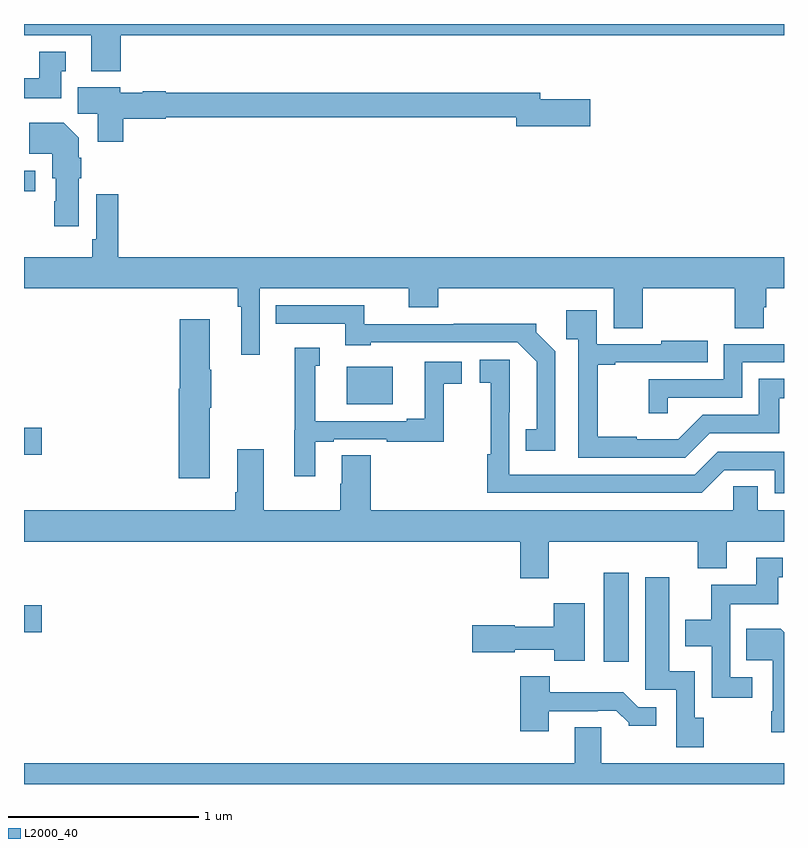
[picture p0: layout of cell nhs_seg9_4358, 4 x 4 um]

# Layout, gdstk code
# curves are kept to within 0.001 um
import gdstk
lib = gdstk.Library(unit=1e-6, precision=1e-09)
def R(c, l, rs):  # rectangles x0, y0, x1, y1
    for r in rs: c.add(gdstk.rectangle(r[:2], r[2:], *l))
def P(c, l, *ps):  # polygons
    for p in ps: c.add(gdstk.Polygon(p, *l))
L2000_40 = (2000, 40)

nhs_seg9_4358 = lib.new_cell('nhs_seg9_4358')
R(nhs_seg9_4358, L2000_40, [(364.052,1173.144,364.183,1173.613), (361,1173.299,361.093,1173.441), (361,1174.234,361.093,1174.376), (362.699,1174.499,362.941,1174.696), (361,1175.619,361.06,1175.727)])
P(nhs_seg9_4358, L2000_40, [(361.508,1176.44),(365,1176.44),(365,1176.5),(361,1176.5),(361,1176.44),(361.355,1176.44),(361.355,1176.251),(361.508,1176.251)],
  [(361.195,1176.252),(361.219,1176.252),(361.219,1176.355),(361.079,1176.355),(361.079,1176.214),(361,1176.214),(361,1176.11),(361.195,1176.11)],
  [(361.523,1176.002),(361.746,1176.002),(361.746,1176.01),(363.59,1176.01),(363.59,1175.963),(363.979,1175.963),(363.979,1176.105),(363.718,1176.105),(363.718,1176.139),(361.746,1176.139),(361.746,1176.147),(361.626,1176.147),(361.626,1176.139),(361.506,1176.139),(361.506,1176.166),(361.283,1176.166),(361.283,1176.028),(361.388,1176.028),(361.388,1175.88),(361.523,1175.88)],
  [(361.288,1175.688),(361.301,1175.688),(361.301,1175.795),(361.288,1175.795),(361.288,1175.902),(361.21,1175.98),(361.027,1175.98),(361.027,1175.816),(361.148,1175.816),(361.148,1175.688),(361.166,1175.688),(361.166,1175.568),(361.159,1175.568),(361.159,1175.436),(361.288,1175.436)],
  [(362.241,1175.108),(363.026,1175.108),(363.026,1175.009),(363.179,1175.009),(363.179,1175.108),(364.103,1175.108),(364.103,1174.9),(364.256,1174.9),(364.256,1175.108),(364.742,1175.108),(364.742,1174.9),(364.894,1174.9),(364.894,1175.01),(364.907,1175.01),(364.907,1175.108),(365,1175.108),(365,1175.272),(361.496,1175.272),(361.496,1175.605),(361.38,1175.605),(361.38,1175.368),(361.36,1175.368),(361.36,1175.272),(361,1175.272),(361,1175.108),(362.125,1175.108),(362.125,1175.012),(362.144,1175.012),(362.144,1174.758),(362.241,1174.758)],
  [(363.795,1174.778),(363.696,1174.877),(363.696,1174.922),(363.262,1174.922),(363.262,1174.92),(362.79,1174.92),(362.79,1175.019),(362.326,1175.019),(362.326,1174.923),(362.69,1174.923),(362.69,1174.808),(362.826,1174.808),(362.826,1174.824),(363.597,1174.824),(363.698,1174.723),(363.698,1174.367),(363.64,1174.367),(363.64,1174.254),(363.795,1174.254)],
  [(364.608,1174.347),(364.975,1174.347),(364.975,1174.531),(365,1174.531),(365,1174.634),(364.868,1174.634),(364.868,1174.443),(364.572,1174.443),(364.444,1174.315),(364.226,1174.315),(364.226,1174.327),(364.019,1174.327),(364.019,1174.707),(364.111,1174.707),(364.111,1174.719),(364.598,1174.719),(364.598,1174.834),(364.355,1174.834),(364.355,1174.815),(364.014,1174.815),(364.014,1174.993),(363.853,1174.993),(363.853,1174.841),(363.918,1174.841),(363.918,1174.218),(364.479,1174.218)],
  [(361.978,1174.481),(361.986,1174.481),(361.986,1174.681),(361.978,1174.681),(361.978,1174.945),(361.82,1174.945),(361.82,1174.581),(361.814,1174.581),(361.814,1174.11),(361.978,1174.11)],
  [(364.389,1174.533),(364.779,1174.533),(364.779,1174.719),(365,1174.719),(365,1174.815),(364.683,1174.815),(364.683,1174.629),(364.288,1174.629),(364.288,1174.452),(364.389,1174.452)],
  [(362.533,1174.302),(362.629,1174.302),(362.629,1174.314),(362.908,1174.314),(362.908,1174.302),(363.21,1174.302),(363.21,1174.606),(363.304,1174.606),(363.304,1174.722),(363.11,1174.722),(363.11,1174.423),(363.014,1174.423),(363.014,1174.41),(362.533,1174.41),(362.533,1174.701),(362.557,1174.701),(362.557,1174.795),(362.424,1174.795),(362.424,1174.363),(362.423,1174.363),(362.423,1174.119),(362.533,1174.119)],
  [(365,1174.248),(364.65,1174.248),(364.53,1174.128),(363.555,1174.128),(363.556,1174.732),(363.399,1174.732),(363.399,1174.611),(363.457,1174.611),(363.457,1174.235),(363.439,1174.235),(363.439,1174.032),(364.566,1174.032),(364.686,1174.152),(364.95,1174.152),(364.95,1174.029),(365,1174.029)],
  [(363.763,1173.776),(364.547,1173.776),(364.547,1173.635),(364.699,1173.635),(364.699,1173.776),(365,1173.776),(365,1173.94),(364.861,1173.94),(364.861,1174.067),(364.734,1174.067),(364.734,1173.94),(362.825,1173.94),(362.825,1174.229),(362.672,1174.229),(362.672,1174.079),(362.665,1174.079),(362.665,1173.94),(362.263,1173.94),(362.263,1174.261),(362.123,1174.261),(362.123,1174.036),(362.111,1174.036),(362.111,1173.94),(361,1173.94),(361,1173.776),(363.611,1173.776),(363.611,1173.582),(363.763,1173.582)],
  [(364.834,1173.063),(364.716,1173.063),(364.716,1173.446),(364.969,1173.446),(364.969,1173.588),(364.993,1173.588),(364.993,1173.691),(364.853,1173.691),(364.853,1173.55),(364.618,1173.55),(364.618,1173.364),(364.481,1173.364),(364.481,1173.224),(364.62,1173.224),(364.62,1172.955),(364.834,1172.955)],
  [(364.578,1172.85),(364.53,1172.85),(364.53,1173.094),(364.396,1173.094),(364.396,1173.589),(364.271,1173.589),(364.271,1172.997),(364.434,1172.997),(364.434,1172.694),(364.578,1172.694)],
  [(363.952,1173.451),(363.788,1173.451),(363.788,1173.328),(363.582,1173.328),(363.582,1173.336),(363.36,1173.336),(363.36,1173.194),(363.582,1173.194),(363.582,1173.206),(363.79,1173.206),(363.79,1173.149),(363.952,1173.149)],
  [(365,1173.3),(364.984,1173.316),(364.801,1173.316),(364.801,1173.152),(364.94,1173.152),(364.94,1172.884),(364.933,1172.884),(364.933,1172.772),(365,1172.772)],
  [(363.763,1172.883),(364.019,1172.883),(364.019,1172.886),(364.118,1172.886),(364.182,1172.822),(364.182,1172.807),(364.327,1172.807),(364.327,1172.904),(364.233,1172.904),(364.155,1172.983),(363.766,1172.983),(363.766,1173.067),(363.611,1173.067),(363.611,1172.778),(363.763,1172.778)],
  [(365,1172.608),(364.039,1172.608),(364.039,1172.798),(363.899,1172.798),(363.899,1172.608),(361,1172.608),(361,1172.5),(365,1172.5)])

lib.write_gds('nhs_seg9_4358.gds')
